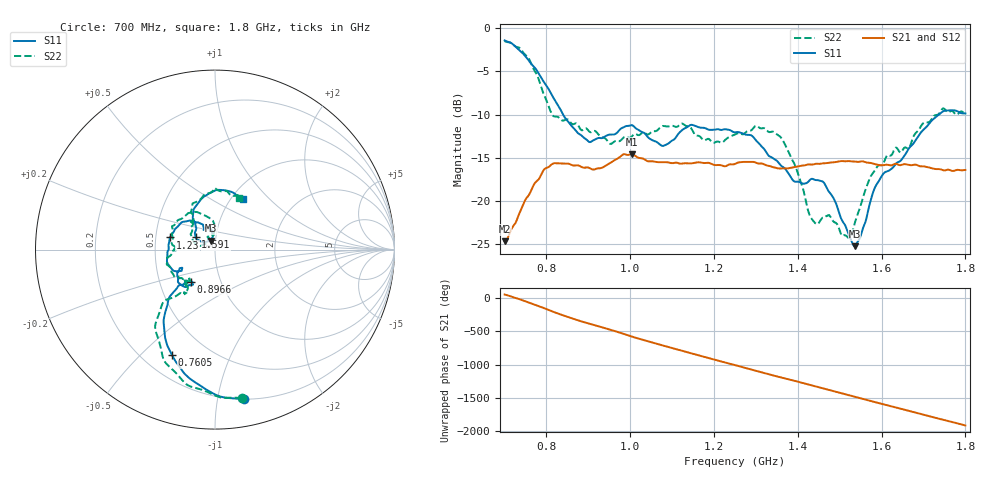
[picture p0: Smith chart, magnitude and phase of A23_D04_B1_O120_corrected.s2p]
! Created with skrf 1.9.0 (http://scikit-rf.org).
# Hz S RI R 50.0
!freq ReS11 ImS11 ReS21 ImS21 ReS12 ImS12 ReS22 ImS22
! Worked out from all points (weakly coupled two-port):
!   1601 points, 700 MHz to 1.8 GHz, reference 50 ohm
!   highest |S21| = -14.56 dB at 1.003 GHz (marker M1); lowest = -24.6 dB at 701.4 MHz (marker M2)
!   lowest |S11| = -25.2 dB at 1.535 GHz (marker M3), VSWR 1.12, Z = 47.4 + j4.69 ohm
!   |S11| at or under -10 dB: 839.7 MHz to 1.737 GHz (896.9 MHz wide, 69.6 % of centre)
!   |S22| runs from -24.3 to -1.5 dB; largest |S21 - S12| = 0.0034
!   S11 on the Smith chart (normalised r, x): 700 MHz: 0.20, -1.19; 760.5 MHz: 0.32, -0.63; 896.6 MHz: 0.72, -0.27; 1.23 GHz: 0.59, +0.09; 1.591 GHz: 0.80, +0.11; 1.8 GHz: 1.13, +0.71
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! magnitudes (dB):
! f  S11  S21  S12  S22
! 700 MHz  -1.4  -24.6  -24.4  -1.5
! 701.4 MHz  -1.5  -24.6  -24.2  -1.5
! 760.5 MHz  -3.9  -19.1  -18.9  -3.8
! 814.1 MHz  -7.9  -15.7  -15.7  -10.0
! 883.6 MHz  -12.4  -16.0  -15.9  -11.8
! 896.6 MHz  -12.9  -16.1  -16.2  -11.7
! 953 MHz  -12.3  -15.6  -15.5  -13.4
! 1.003 GHz  -11.2  -14.6  -14.7  -12.5
! 1.067 GHz  -13.3  -15.5  -15.4  -11.7
! 1.145 GHz  -11.2  -15.6  -15.6  -11.5
! 1.23 GHz  -11.7  -15.9  -15.8  -12.8
! 1.25 GHz  -12.0  -15.7  -15.6  -12.3
! 1.359 GHz  -15.8  -16.2  -16.2  -12.6
! 1.392 GHz  -17.7  -16.1  -16.0  -15.8
! 1.434 GHz  -17.4  -15.8  -15.7  -22.1
! 1.464 GHz  -18.0  -15.6  -15.6  -21.8
! 1.52 GHz  -23.6  -15.4  -15.4  -24.2
! 1.535 GHz  -25.2  -15.4  -15.4  -22.7
! 1.591 GHz  -17.9  -15.8  -15.8  -15.9
! 1.617 GHz  -16.5  -15.8  -15.8  -14.7
! 1.742 GHz  -9.8  -16.3  -16.3  -9.5
! 1.8 GHz  -9.9  -16.4  -16.4  -9.9
